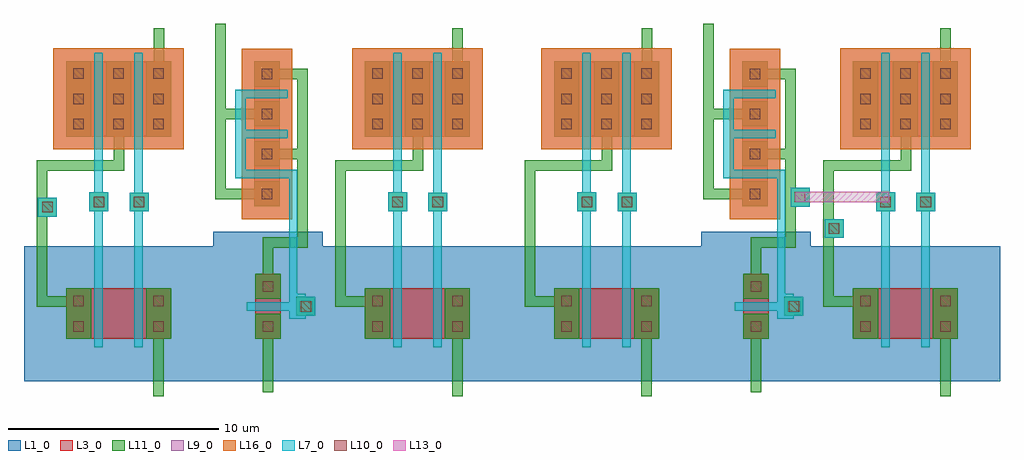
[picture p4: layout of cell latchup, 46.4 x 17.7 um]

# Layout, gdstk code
from math import pi, radians
import gdstk
lib = gdstk.Library(unit=1e-6, precision=1e-09)
def R(c, l, rs):  # rectangles x0, y0, x1, y1
    for r in rs: c.add(gdstk.rectangle(r[:2], r[2:], *l))
L1_0 = (1, 0)
L3_0 = (3, 0)
L7_0 = (7, 0)
L9_0 = (9, 0)
L10_0 = (10, 0)
L11_0 = (11, 0)
L13_0 = (13, 0)
L16_0 = (16, 0)

inv0_1 = lib.new_cell('inv0$1')

inv0_2 = lib.new_cell('inv0$2')

pcont_2 = lib.new_cell('pcont$2')
R(pcont_2, L7_0, [(-0.45,-0.45,0.45,0.45)])
R(pcont_2, L10_0, [(-0.25,-0.25,0.25,0.25)])
R(pcont_2, L11_0, [(-0.45,-0.45,0.45,0.45)])

dcont = lib.new_cell('dcont')
R(dcont, L3_0, [(-0.6,-0.6,0.6,0.6)])
R(dcont, L10_0, [(-0.25,-0.25,0.25,0.25)])

pch_3 = lib.new_cell('Pch$3')
R(pch_3, L3_0, [(0,1.7,6.9,2.9)])
R(pch_3, L9_0, [(-0.6,1.1,7.5,3.5)])
R(pch_3, L16_0, [(-0.6,1.1,7.5,3.5)])
pch_3.add(gdstk.FlexPath([(0.6,1.7),(0.6,2.9)], 1.2, ends="flush", simple_path=True, layer=11, datatype=0))  # L11_0
pch_3.add(gdstk.FlexPath([(2.5,1.7),(2.5,2.9)], 1.2, ends="flush", simple_path=True, layer=11, datatype=0))  # L11_0
pch_3.add(gdstk.FlexPath([(4.4,1.7),(4.4,2.9)], 1.2, ends="flush", simple_path=True, layer=11, datatype=0))  # L11_0
pch_3.add(gdstk.FlexPath([(6.3,1.7),(6.3,2.9)], 1.2, ends="flush", simple_path=True, layer=11, datatype=0))  # L11_0
pch_3.add(gdstk.FlexPath([(0.6,2.4),(0.6,4)], 0.5, ends="flush", simple_path=True, layer=11, datatype=0))  # L11_0
pch_3.add(gdstk.FlexPath([(2.5,0.1),(2.5,2.2)], 0.5, ends="flush", simple_path=True, layer=11, datatype=0))  # L11_0
pch_3.add(gdstk.FlexPath([(4.4,2.4),(4.4,4)], 0.5, ends="flush", simple_path=True, layer=11, datatype=0))  # L11_0
pch_3.add(gdstk.FlexPath([(0.6,4),(4.4,4)], 0.5, ends="extended", simple_path=True, layer=11, datatype=0))  # L11_0
pch_3.add(gdstk.FlexPath([(6.3,0.1),(6.3,2.2)], 0.5, ends="flush", simple_path=True, layer=11, datatype=0))  # L11_0
pch_3.add(gdstk.FlexPath([(2.5,0.1),(6.3,0.1)], 0.5, ends="extended", simple_path=True, layer=11, datatype=0))  # L11_0
pch_3.add(gdstk.FlexPath([(1.55,1.7),(1.55,2.9)], 0.4, ends=(0.4, 0.4), simple_path=True, layer=7, datatype=0))  # L7_0
pch_3.add(gdstk.FlexPath([(3.45,1.7),(3.45,2.9)], 0.4, ends=(0.4, 0.4), simple_path=True, layer=7, datatype=0))  # L7_0
pch_3.add(gdstk.FlexPath([(5.35,1.7),(5.35,2.9)], 0.4, ends=(0.4, 0.4), simple_path=True, layer=7, datatype=0))  # L7_0
pch_3.add(gdstk.FlexPath([(1.35,1.05),(3.65,1.05)], 0.5, ends="flush", simple_path=True, layer=7, datatype=0))  # L7_0
pch_3.add(gdstk.FlexPath([(3.25,1.05),(5.55,1.05)], 0.5, ends="flush", simple_path=True, layer=7, datatype=0))  # L7_0
pch_3.add(gdstk.Reference(dcont, (0.6,2.3)))
pch_3.add(gdstk.Reference(dcont, (2.5,2.3)))
pch_3.add(gdstk.Reference(dcont, (4.4,2.3)))
pch_3.add(gdstk.Reference(dcont, (6.3,2.3)))

pcont = lib.new_cell('pcont')
R(pcont, L7_0, [(-0.45,-0.45,0.45,0.45)])
R(pcont, L10_0, [(-0.25,-0.25,0.25,0.25)])
R(pcont, L11_0, [(-0.45,-0.45,0.45,0.45)])

nch_3 = lib.new_cell('Nch$3')
R(nch_3, L1_0, [(-2,-0.3,5.1,4.9)])
R(nch_3, L3_0, [(0,1.7,3.1,2.9)])
nch_3.add(gdstk.FlexPath([(0.6,1.7),(0.6,2.9)], 1.2, ends="flush", simple_path=True, layer=11, datatype=0))  # L11_0
nch_3.add(gdstk.FlexPath([(2.5,1.7),(2.5,2.9)], 1.2, ends="flush", simple_path=True, layer=11, datatype=0))  # L11_0
nch_3.add(gdstk.FlexPath([(1.55,1.7),(1.55,2.9)], 0.4, ends=(0.4, 0.4), simple_path=True, layer=7, datatype=0))  # L7_0
nch_3.add(gdstk.FlexPath([(1.55,4.1),(1.55,3.3)], 1.2, ends="flush", simple_path=True, layer=7, datatype=0))  # L7_0
nch_3.add(gdstk.Reference(dcont, (0.6,2.3)))
nch_3.add(gdstk.Reference(dcont, (2.5,2.3)))
nch_3.add(gdstk.Reference(pcont, (1.55,4.1)))

nch_4 = lib.new_cell('Nch$4')
R(nch_4, L1_0, [(-2,-0.3,5.1,4.9)])
R(nch_4, L3_0, [(0,1.7,3.1,2.9)])
nch_4.add(gdstk.FlexPath([(0.6,1.7),(0.6,2.9)], 1.2, ends="flush", simple_path=True, layer=11, datatype=0))  # L11_0
nch_4.add(gdstk.FlexPath([(2.5,1.7),(2.5,2.9)], 1.2, ends="flush", simple_path=True, layer=11, datatype=0))  # L11_0
nch_4.add(gdstk.FlexPath([(1.55,1.7),(1.55,2.9)], 0.4, ends=(0.4, 0.4), simple_path=True, layer=7, datatype=0))  # L7_0
nch_4.add(gdstk.FlexPath([(1.55,4.1),(1.55,3.3)], 1.2, ends="flush", simple_path=True, layer=7, datatype=0))  # L7_0
nch_4.add(gdstk.Reference(dcont, (0.6,2.3)))
nch_4.add(gdstk.Reference(dcont, (2.5,2.3)))
nch_4.add(gdstk.Reference(pcont, (1.55,4.1)))

inv_citizen = lib.new_cell('INV_Citizen')
inv_citizen.add(gdstk.FlexPath([(39.59,1.53),(39.59,-1.6)], 0.5, ends="flush", simple_path=True, layer=11, datatype=0))  # L11_0
inv_citizen.add(gdstk.FlexPath([(41.24,9.73),(41.24,5.52),(39.59,5.52),(39.59,3.43)], 0.5, ends="flush", simple_path=True, layer=11, datatype=0))  # L11_0
inv_citizen.add(gdstk.FlexPath([(37.34,11.63),(37.34,15.91)], 0.5, ends="flush", simple_path=True, layer=11, datatype=0))  # L11_0
inv_citizen.add(gdstk.FlexPath([(40.14,8.78),(40.79,8.78),(40.79,2.68)], 0.4, ends="flush", simple_path=True, layer=7, datatype=0))  # L7_0
inv_citizen.add(gdstk.Reference(pch_3, (37.24,14.13), rotation=3*pi/2))
inv_citizen.add(gdstk.Reference(nch_3, (37.29,4.03), rotation=3*pi/2))
inv_citizen.add(gdstk.Reference(nch_4, (37.29,4.03), rotation=3*pi/2))

nch = lib.new_cell('Nch')
R(nch, L1_0, [(-2,-0.3,7,6.1)])
R(nch, L3_0, [(0,1.7,5,4.1)])
nch.add(gdstk.FlexPath([(0.6,1.7),(0.6,4.1)], 1.2, ends="flush", simple_path=True, layer=11, datatype=0))  # L11_0
nch.add(gdstk.FlexPath([(4.4,1.7),(4.4,4.1)], 1.2, ends="flush", simple_path=True, layer=11, datatype=0))  # L11_0
nch.add(gdstk.FlexPath([(1.55,1.7),(1.55,4.1)], 0.4, ends=(0.4, 0.4), simple_path=True, layer=7, datatype=0))  # L7_0
nch.add(gdstk.FlexPath([(3.45,1.7),(3.45,4.1)], 0.4, ends=(0.4, 0.4), simple_path=True, layer=7, datatype=0))  # L7_0
nch.add(gdstk.Reference(dcont, (0.6,2.3)))
nch.add(gdstk.Reference(dcont, (0.6,3.5)))
nch.add(gdstk.Reference(dcont, (4.4,2.3)))
nch.add(gdstk.Reference(dcont, (4.4,3.5)))

pch_1 = lib.new_cell('Pch$1')
R(pch_1, L3_0, [(0,1.7,5,5.3)])
R(pch_1, L9_0, [(-0.6,1.1,5.6,5.9)])
R(pch_1, L16_0, [(-0.6,1.1,5.6,5.9)])
pch_1.add(gdstk.FlexPath([(0.6,1.7),(0.6,5.3)], 1.2, ends="flush", simple_path=True, layer=11, datatype=0))  # L11_0
pch_1.add(gdstk.FlexPath([(2.5,1.7),(2.5,5.3)], 1.2, ends="flush", simple_path=True, layer=11, datatype=0))  # L11_0
pch_1.add(gdstk.FlexPath([(4.4,1.7),(4.4,5.3)], 1.2, ends="flush", simple_path=True, layer=11, datatype=0))  # L11_0
pch_1.add(gdstk.FlexPath([(1.55,1.7),(1.55,5.3)], 0.4, ends=(0.4, 0.4), simple_path=True, layer=7, datatype=0))  # L7_0
pch_1.add(gdstk.FlexPath([(3.45,1.7),(3.45,5.3)], 0.4, ends=(0.4, 0.4), simple_path=True, layer=7, datatype=0))  # L7_0
pch_1.add(gdstk.Reference(dcont, (0.6,2.3)))
pch_1.add(gdstk.Reference(dcont, (0.6,3.5)))
pch_1.add(gdstk.Reference(dcont, (0.6,4.7)))
pch_1.add(gdstk.Reference(dcont, (2.5,2.3)))
pch_1.add(gdstk.Reference(dcont, (2.5,3.5)))
pch_1.add(gdstk.Reference(dcont, (2.5,4.7)))
pch_1.add(gdstk.Reference(dcont, (4.4,2.3)))
pch_1.add(gdstk.Reference(dcont, (4.4,3.5)))
pch_1.add(gdstk.Reference(dcont, (4.4,4.7)))

nand2 = lib.new_cell('NAND2')
nand2.add(gdstk.FlexPath([(2.59,11.09),(2.59,13.04)], 0.5, ends="flush", simple_path=True, layer=11, datatype=0))  # L11_0
nand2.add(gdstk.FlexPath([(2.58,-0.89),(2.58,-4.46)], 0.5, ends="flush", simple_path=True, layer=11, datatype=0))  # L11_0
nand2.add(gdstk.FlexPath([(0.7,8.75),(0.7,6.51),(-2.97,6.51),(-2.97,0.04),(-1.23,0.04)], 0.5, ends="flush", simple_path=True, layer=11, datatype=0))  # L11_0
nand2.add(gdstk.FlexPath([(-0.27,7.87),(-0.27,0.66)], 0.4, ends="flush", simple_path=True, layer=7, datatype=0))  # L7_0
nand2.add(gdstk.FlexPath([(1.63,0.66),(1.63,7.85),(1.63,7.85),(1.63,7.85)], 0.4, ends="flush", simple_path=True, layer=7, datatype=0))  # L7_0
nand2.add(gdstk.Reference(pcont_2, (1.65,4.77)))
nand2.add(gdstk.Reference(pcont_2, (-0.26,4.78)))
nand2.add(gdstk.Reference(nch, (-1.82,-3.44)))
nand2.add(gdstk.Reference(pch_1, (-1.82,6.17)))

latchup = lib.new_cell('latchup')
latchup.add(gdstk.FlexPath([(81.08,61.23),(76.6,61.23)], 0.5, ends="flush", simple_path=True, layer=13, datatype=0))  # L13_0
latchup.add(gdstk.Reference(inv0_1, (50.6,53.3)))
latchup.add(gdstk.Reference(inv0_2, (44.7,53.61)))
latchup.add(gdstk.Reference(pcont_2, (41.05,60.76)))
latchup.add(gdstk.Reference(inv_citizen, (35.15,53.56)))
latchup.add(gdstk.Reference(inv_citizen, (11.95,53.56)))
latchup.add(gdstk.Reference(nand2, (66.96,56.23)))
latchup.add(gdstk.Reference(nand2, (43.76,56.23)))
latchup.add(gdstk.Reference(nand2, (57.96,56.23)))
latchup.add(gdstk.Reference(nand2, (81.16,56.23)))
latchup.add(gdstk.Reference(pcont_2, (76.84,61.23)))
latchup.add(gdstk.Reference(inv0_1, (52.45,51.57), rotation=pi))
latchup.add(gdstk.Reference(inv0_2, (58.35,51.26), rotation=pi))
latchup.add(gdstk.Reference(pcont_2, (78.45,59.74)))

lib.write_gds('latchup.gds')
